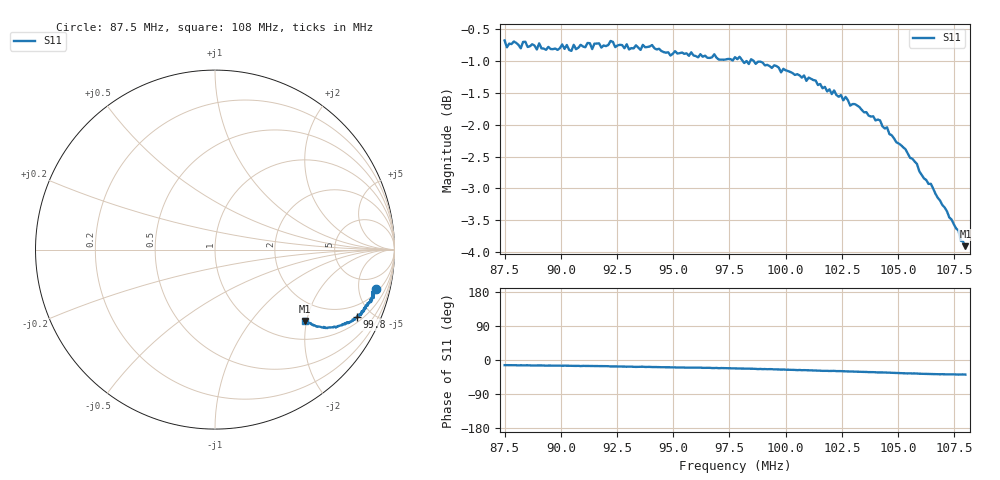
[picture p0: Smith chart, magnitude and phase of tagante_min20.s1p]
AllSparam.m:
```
222%%%%%%%%%%%%%%%%%%%%%%%%%%%%%%%%%%%%%%%%%%%%%%%%%%%%%%%
%     Spiros Daskalakis                               %
%     last Revision 11/7/2017                         %
%%%%%%%%%%%%%%%%%%%%%%%%%%%%%%%%%%%%%%%%%%%%%%%%%%%%%%%
clc; 
close all; 
clear all;



%%

figure(5)
smithchart();
hold on;

S0=sparameters('tagante_min20.s1p');
s11_0=rfparam(S0,1,1);
[~,idx_0]=min(abs(S0.Frequencies-98570000));
plot(s11_0);

% 
% S1=sparameters('genante_min20.s1p');
% s11_1=rfparam(S1,1,1);
% [~,idx_1]=min(abs(S1.Frequencies-98570000));
% plot(s11_1);

s11_0(idx_0)
plot(s11_0(idx_0),'*r');
z = gamma2z(s11_0(idx_0))
%z = gamma2z(s11_1(idx_1))
%title('S-Parameters P_in}=-20 dBm 87.5 - 108 MHz');
```
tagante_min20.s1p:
!Agilent Technologies,N5225A,MY51441201,A.09.90.19
!Agilent N5225A: A.09.90.19
!Date: Thursday, May 17, 2018 16:01:11
!Correction: S11(Full 1 Port(1))
!S1P File: Measurement: S11:
# Hz S  dB  R 50
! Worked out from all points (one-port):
!   201 points, 87.5 MHz to 108 MHz, reference 50 ohm
!   lowest |S11| = -3.9 dB at 108 MHz (marker M1), VSWR 4.52, Z = 72.6 - j97.1 ohm
!   |S11| at or under -10 dB: nowhere
!   S11 on the Smith chart (normalised r, x): 87.5 MHz: 2.51, -7.57; 99.8 MHz: 1.29, -4.06; 108 MHz: 1.45, -1.94
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8.75e7  -0.68 -13.6
8.76025e7  -0.78 -13.6
8.84225e7  -0.69 -13.9
9.0165e7  -0.81 -14.9
9.2215e7  -0.68 -16.9
9.43675e7  -0.81 -19.0
9.66225e7  -0.95 -20.6
9.7955e7  -0.93 -22.5
9.98e7  -1.18 -25.4
1.01235e8  -1.30 -27.4
1.042075e8  -1.93 -32.7
1.052325e8  -2.36 -35.0
1.064625e8  -2.93 -37.0
1.08e8  -3.91 -38.5
